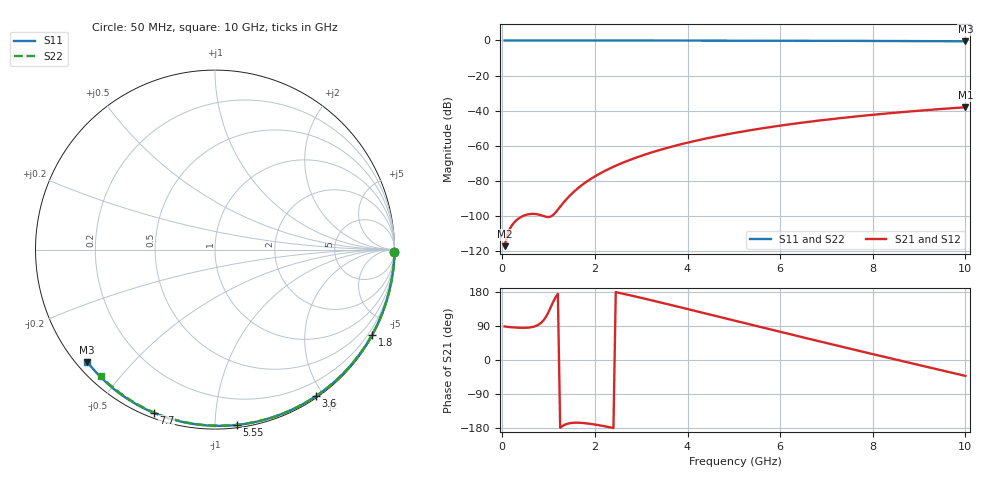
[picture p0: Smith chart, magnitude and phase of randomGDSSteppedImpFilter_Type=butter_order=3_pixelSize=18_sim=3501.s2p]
! freq	dB(S11)	phase(S11)	dB(S12)	phase(S12)
!  dB(S21)	phase(S21)	dB(S22)	phase(S22)
!S-par simulation data
#  GHz  S  DB  R 50
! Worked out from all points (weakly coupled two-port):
!   200 points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, 50 MHz to 10 GHz, reference 50 ohm
!   highest |S21| = -38.12 dB at 10 GHz (marker M1); lowest = -117.4 dB at 50 MHz (marker M2)
!   lowest |S11| = -0.5 dB at 10 GHz (marker M3), VSWR 36.95, Z = 1.55 - j18.8 ohm
!   |S11| at or under -10 dB: nowhere
!   |S22| runs from -0.4 to 0.0 dB; largest |S21 - S12| = 0
!   S11 on the Smith chart (normalised r, x): 50 MHz: open; 1.8 GHz: 0.03, -3.95; 3.6 GHz: 0.02, -1.90; 5.55 GHz: 0.02, -1.13; 7.7 GHz: 0.02, -0.69; 10 GHz: 0.03, -0.38
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0.05  -0.00 -0.8  -117.40 88.6  -117.40 88.6  -0.00 -0.8
0.45  -0.01 -7.2  -100.13 84.9  -100.13 84.9  -0.01 -6.9
0.9  -0.02 -14.4  -100.29 106.2  -100.29 106.2  -0.02 -13.6
1.75  -0.04 -27.7  -81.91 -166.3  -81.91 -166.3  -0.03 -26.3
1.8  -0.04 -28.4  -80.96 -166.9  -80.96 -166.9  -0.03 -27.0
1.85  -0.04 -29.2  -80.06 -167.6  -80.06 -167.6  -0.04 -27.8
2.15  -0.04 -33.8  -75.34 -173.5  -75.34 -173.5  -0.04 -32.2
2.35  -0.05 -36.9  -72.70 -178.3  -72.70 -178.3  -0.05 -35.1
2.55  -0.05 -39.9  -70.34 176.5  -70.34 176.5  -0.05 -38.0
2.95  -0.06 -46.0  -66.30 165.4  -66.30 165.4  -0.06 -43.7
3.4  -0.07 -52.6  -62.50 152.3  -62.50 152.3  -0.07 -50.1
3.6  -0.07 -55.6  -61.02 146.4  -61.02 146.4  -0.07 -52.9
3.9  -0.08 -59.9  -58.97 137.5  -58.97 137.5  -0.08 -57.0
4.3  -0.09 -65.6  -56.52 125.5  -56.52 125.5  -0.09 -62.5
5.05  -0.12 -76.1  -52.61 102.9  -52.61 102.9  -0.11 -72.5
5.55  -0.14 -82.9  -50.40 87.9  -50.40 87.9  -0.13 -79.0
6.1  -0.16 -90.2  -48.24 71.4  -48.24 71.4  -0.15 -86.0
6.7  -0.19 -98.0  -46.16 53.6  -46.16 53.6  -0.18 -93.4
7.7  -0.25 -110.6  -43.20 24.2  -43.20 24.2  -0.24 -105.4
8.35  -0.30 -118.7  -41.56 5.4  -41.56 5.4  -0.29 -113.1
9.2  -0.38 -129.0  -39.67 -19.1  -39.67 -19.1  -0.36 -122.9
10  -0.47 -138.7  -38.12 -42.0  -38.12 -42.0  -0.45 -131.9
